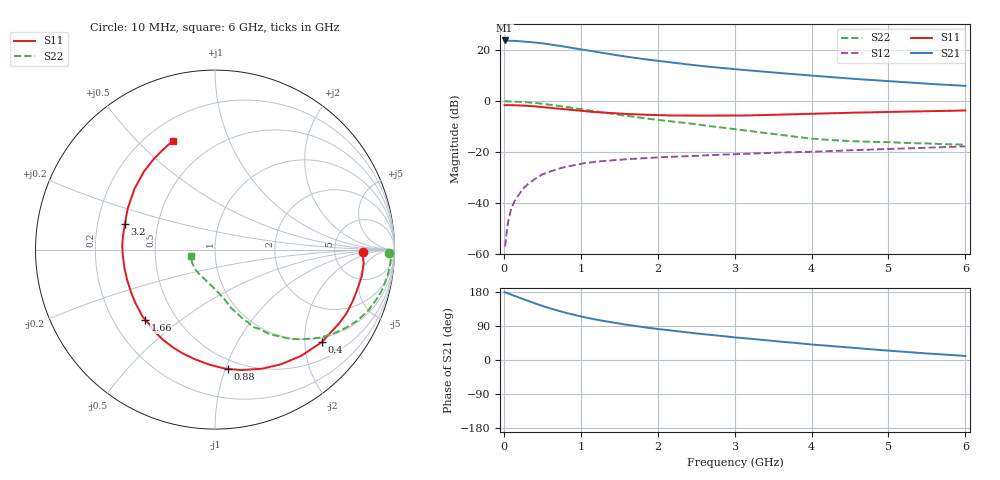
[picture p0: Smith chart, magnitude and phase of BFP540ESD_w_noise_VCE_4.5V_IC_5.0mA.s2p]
! Infineon Technologies  Discrete & RF Semiconductors
! BFP540ESD
! VCE =  4.5 V,  IC =  5.0 mA
! Common Emitter S-Parameters:  Nov 2015
# GHz  S  MA  R  50
!  f  S11  S21  S12  S22
! GHz  MAG  ANG  MAG  ANG  MAG  ANG  MAG  ANG
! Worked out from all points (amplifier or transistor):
!   210 points, 10 MHz to 6 GHz, reference 50 ohm
!   highest |S21| = 23.8 dB at 10 MHz (marker M1)
!   |S21| within 3 dB of that: start of sweep to 901.8 MHz
!   unconditionally stable (mu >= 1): start of sweep to 11.95 MHz; 3.327 GHz to end of sweep
!   at 185 MHz: K = 0.13, MSG = 30.4 dB, |S12| = -37.3 dB
!   at 1.52 GHz: K = 0.49, MSG = 20.4 dB, |S12| = -23.1 dB
!   at 6 GHz: K = 1.22, MAG = 9.1 dB, |S12| = -17.8 dB
!   lowest NFmin = 0.69 dB at 900 MHz
!   S11 on the Smith chart (normalised r, x): 10 MHz: 11, -1; 400 MHz: 0.89, -2.40; 880 MHz: 0.42, -1.02; 1.66 GHz: 0.34, -0.38; 3.2 GHz: 0.32, +0.12; 6 GHz: 0.30, +0.64
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0.01  0.8273 -0.8  15.49 178.7  0.0014 33.8  0.9721 -1.2
0.02  0.8245 -2.4  15.26 178.4  0.0015 43.6  0.994 -1.1
0.08  0.8306 -8.3  15.27 173.7  0.0062 74.3  0.9791 -4.5
0.175  0.8208 -18.1  15.09 166.5  0.013 76.8  0.9686 -9.6
0.3  0.8041 -30.9  14.64 157.1  0.0222 72.6  0.945 -16.5
0.4  0.7871 -40.9  14.14 149.8  0.029 69.4  0.9187 -21.7
0.5  0.7622 -50.9  13.65 142.8  0.036 66.2  0.8848 -26.8
0.6  0.737 -60.2  12.94 136.2  0.041 62.1  0.8463 -31.2
0.78  0.6907 -75.9  11.77 125.9  0.0497 55.4  0.7755 -38.7
0.88  0.6676 -84.0  11.11 120.7  0.0535 52.6  0.736 -42.3
1.02  0.6362 -94.5  10.22 114.1  0.0588 48.9  0.6838 -46.9
1.18  0.6075 -106.1  9.31 107.3  0.0634 45.2  0.6283 -51.4
1.28  0.5949 -112.2  8.809 103.7  0.0657 43.3  0.5978 -53.7
1.5  0.5677 -126.3  7.809 96.0  0.0697 39.4  0.5346 -58.8
1.66  0.5508 -134.7  7.205 91.1  0.0726 37.2  0.4948 -62.1
2.02  0.5254 -152.3  6.102 81.3  0.0782 33.4  0.4234 -67.6
2.56  0.5144 -174.3  4.899 68.9  0.0844 29.9  0.3365 -74.6
3.1  0.5191 167.4  4.098 58.0  0.0908 27.5  0.2674 -81.1
3.2  0.5213 164.3  3.976 56.2  0.0922 27.0  0.2561 -82.8
4.1  0.5658 140.7  3.073 39.4  0.1019 23.2  0.1772 -107.4
5.1  0.6134 122.3  2.399 23.2  0.1149 19.2  0.1527 -139.3
6  0.6509 111.0  1.985 10.6  0.1284 16.3  0.1387 -164.1
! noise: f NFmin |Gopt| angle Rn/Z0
0.9  0.69  0.1  42  0.12
1.8  0.92  0.1  123  0.11
2.4  0.94  0.12  135  0.1
3  1.1  0.2  165  0.09
4  1.26  0.29  -127  0.15
5  1.53  0.41  -101  0.32
6  1.74  0.53  -100  0.46
